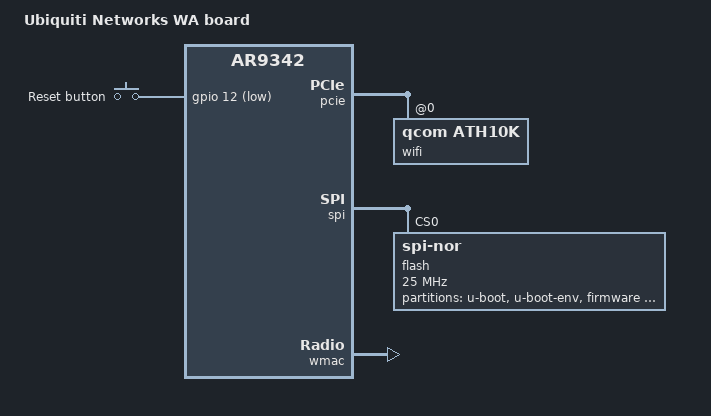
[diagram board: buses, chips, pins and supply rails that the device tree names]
// SPDX-License-Identifier: GPL-2.0-only

#include "ar9344.dtsi"

#include <dt-bindings/gpio/gpio.h>
#include <dt-bindings/input/input.h>

/ {
	compatible = "ubnt,wa", "qca,ar9342";
	model = "Ubiquiti Networks WA board";

	keys {
		compatible = "gpio-keys";

		reset {
			label = "Reset button";
			linux,code = <KEY_RESTART>;
			gpios = <&gpio 12 GPIO_ACTIVE_LOW>;
			debounce-interval = <60>;
		};
	};
};

&ref {
	clock-frequency = <40000000>;
};

&pcie {
	status = "okay";

	wifi@0,0 {
		compatible = "qcom,ath10k";
		reg = <0x0000 0 0 0 0>;
		nvmem-cells = <&cal_art_5000>;
		nvmem-cell-names = "calibration";
	};
};

&spi {
	status = "okay";

	flash@0 {
		compatible = "jedec,spi-nor";
		reg = <0>;
		spi-max-frequency = <25000000>;

		partitions {
			compatible = "fixed-partitions";
			#address-cells = <1>;
			#size-cells = <1>;

			partition@0 {
				label = "u-boot";
				reg = <0x000000 0x040000>;
				read-only;
			};

			partition@40000 {
				label = "u-boot-env";
				reg = <0x040000 0x010000>;
				read-only;
			};

			partition@50000 {
				compatible = "denx,uimage";
				label = "firmware";
				reg = <0x050000 0xf60000>;
			};

			partition@fb0000 {
				label = "cfg";
				reg = <0xfb0000 0x040000>;
				read-only;
			};

			partition@ff0000 {
				label = "art";
				reg = <0xff0000 0x010000>;
				read-only;

				nvmem-layout {
					compatible = "fixed-layout";
					#address-cells = <1>;
					#size-cells = <1>;

					macaddr_art_0: macaddr@0 {
						reg = <0x0 0x6>;
					};

					cal_art_1000: calibration@1000 {
						reg = <0x1000 0x440>;
					};

					cal_art_5000: calibration@5000 {
						reg = <0x5000 0x844>;
					};
				};
			};
		};
	};
};

&wmac {
	status = "okay";

	nvmem-cells = <&cal_art_1000>;
	nvmem-cell-names = "calibration";

	ieee80211-freq-limit = <2402000 2482001>;
};
